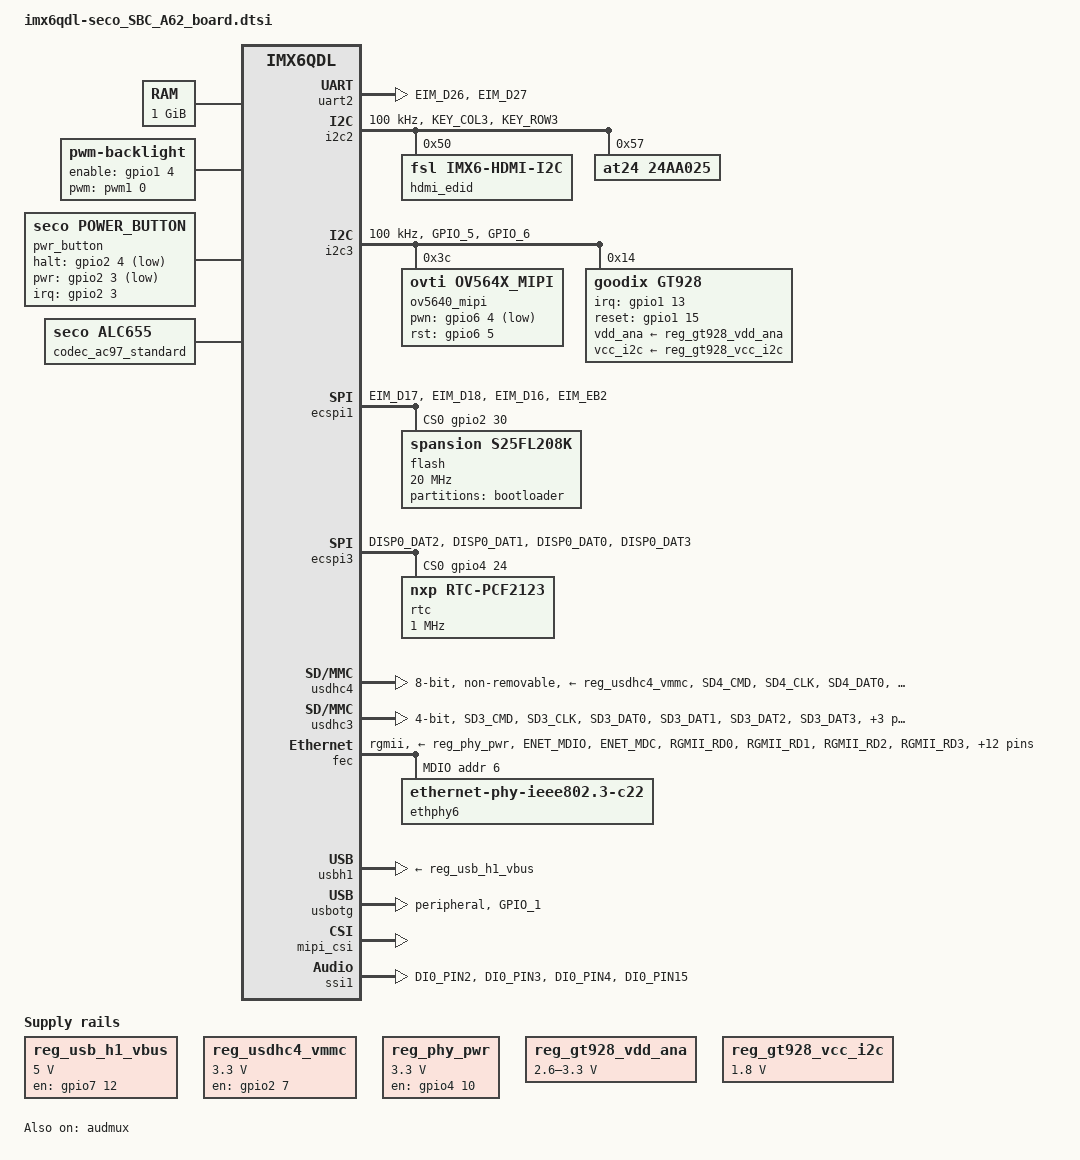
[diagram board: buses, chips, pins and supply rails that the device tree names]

#include <dt-bindings/gpio/gpio.h>
#include <dt-bindings/input/input.h>
#include <dt-bindings/pwm/pwm.h>


/ {
	aliases {
		mxcfb0 = &mxcfb1;
		mxcfb1 = &mxcfb2;
		mxcfb2 = &mxcfb3;
		mxcfb3 = &mxcfb4;
		mmc0   = &usdhc4;
		mmc1   = &usdhc3;
	};

	memory: memory {
		reg = <0x10000000 0x40000000>;
	};



/*  __________________________________________________________________________
 * |                                                                          |
 * |                                 REGULATORS                               |
 * |__________________________________________________________________________|
 */
	regulators {
		compatible       = "simple-bus";
		#address-cells   = <1>;
		#size-cells      = <0>;

		reg_usb_h1_vbus: regulator@0 {
			compatible              = "regulator-fixed";
			reg                     = <0>;
			regulator-name          = "usb_h1_vbus";
			//pinctrl-0               = <&pinctrl_usb_reg>;
			regulator-min-microvolt = <5000000>;
			regulator-max-microvolt = <5000000>;
			gpio                    = <&gpio7 12 GPIO_ACTIVE_HIGH>;
			enable-active-high;
			//startup-delay-us        = <10>; /* USB2514 requires a POR of 1 us minimum */
			status                  = "okay";
		};


		reg_usdhc4_vmmc: usdhc4_vmmc {
			compatible = "regulator-fixed";
			regulator-name = "VEMMC_3V3";
			regulator-min-microvolt = <3300000>;
			regulator-max-microvolt = <3300000>;
			gpio = <&gpio2 7 GPIO_ACTIVE_HIGH>;
			enable-active-high;
		};


		reg_panel_on: panel_on {
			compatible              = "regulator-fixed";
			reg                     = <1>;
			regulator-name          = "reg_panel_on";
			regulator-min-microvolt = <3300000>;
			regulator-max-microvolt = <3300000>;
			gpio                    = <&gpio1 2 0>;
			enable-active-high;
			regulator-boot-on;
			regulator-always-on;
			status                  = "disabled";
		};


		reg_phy_pwr: phy_pwr {
			compatible              = "regulator-fixed";
			regulator-name          = "phy_pwr";
			regulator-min-microvolt = <3300000>;
			regulator-max-microvolt = <3300000>;
			gpio                    = <&gpio4 10 GPIO_ACTIVE_HIGH>;
			enable-active-high;
		};


		reg_gt928_vdd_ana: gt928_vdd_ana {
			compatible              = "regulator-fixed";
			reg                     = <2>;
			regulator-name          = "gt928_vdd_ana";
			regulator-min-microvolt = <2600000>;
			regulator-max-microvolt = <3300000>;
			regulator-always-on;
			status                  = "okay";
		};


		reg_gt928_vcc_i2c: gt928_vcc_i2c {
			compatible              = "regulator-fixed";
			reg                     = <3>;
			regulator-name          = "gt928_vcc_i2c";
			regulator-min-microvolt = <1800000>;
			regulator-max-microvolt = <1800000>;
			regulator-always-on;
			status                  = "okay";
		};

	};


/*  __________________________________________________________________________
 * |                                                                          |
 * |                                   VIDEO                                  |
 * |__________________________________________________________________________|
 */

	mxcfb1: fb@0 {
		compatible = "fsl,mxc_sdc_fb";
		disp_dev = "ldb";
		interface_pix_fmt = "RGB666";
		default_bpp = <16>;
		int_clk = <0>;
		late_init = <0>;
		status = "disabled";
	};

	mxcfb2: fb@1 {
		compatible = "fsl,mxc_sdc_fb";
		disp_dev = "hdmi";
		interface_pix_fmt = "RGB24";
		mode_str ="1920x1080M@60";
		default_bpp = <24>;
		int_clk = <0>;
		late_init = <0>;
		status = "disabled";
	};

	mxcfb3: fb@2 {
		compatible = "fsl,mxc_sdc_fb";
		disp_dev = "lcd";
		interface_pix_fmt = "RGB565";
		mode_str ="CLAA-WVGA";
		default_bpp = <16>;
		int_clk = <0>;
		late_init = <0>;
		status = "disabled";
	};

	mxcfb4: fb@3 {
		compatible = "fsl,mxc_sdc_fb";
		disp_dev = "ldb";
		interface_pix_fmt = "RGB666";
		default_bpp = <16>;
		int_clk = <0>;
		late_init = <0>;
		status = "disabled";
	};

	backlight {
		compatible               = "pwm-backlight";
		pwms                     = <&pwm1 0 5000000>;
		brightness-levels        = <0  4   8   12  16  20  24  28  32  36
		                            40  44  48  52  56  60  64  68  72  76
		                            80  84  88  92  96  100 104 108 112 116
		                            120 124 128 132 136 140 144 148 152 156
		                            160 164 168 172 176 180 184 188 192 196
		                            200 204 208 212 216 220 224 228 232 236
		                            240 244 248 252 255
		                           >;
		default-brightness-level = <65>;
		enable-gpios             = <&gpio1 4 0>;
		status                   = "okay";
	};	
};

/*  __________________________________________________________________________
 * |                                                                          |
 * |                                  CLOCKS                                  |
 * |__________________________________________________________________________|
 */
/ {
	clk_consumer0: clk_consumer0 {
		compatible = "seco,clk_consumer";
		clocks = <&clks IMX6QDL_CLK_CKO>;
		status = "okay";
	};


	external_clocks {
		clocks       =  <&clks IMX6QDL_CLK_CKO>;
		#clock-cells = <0>;
	};

	// external_clocks1 {
	// 	clocks       =  <&clks IMX6QDL_CLK_CKO2>;
	// 	#clock-cells = <0>;
	// };
};

&clks {
	assigned-clocks      =  	<&clks IMX6QDL_CLK_CKO2>,
						<&clks IMX6QDL_CLK_PLL4_POST_DIV>;
	assigned-clock-rates = <24000000>, <24576000>;
};



/*  __________________________________________________________________________
 * |                                                                          |
 * |                             POWER MANAGEMENT                             |
 * |__________________________________________________________________________|
 */
/ {
	power_signal: power_signal {
		power-gpio = <&gpio2 4 0>;
		set_high;
		only_for_poweroff;
	};

	pwr_button: pwr_button {
		compatible       = "seco,power_button";
		interrupt-parent = <&gpio2>;
		interrupts       = <3 IRQ_TYPE_LEVEL_LOW>;
		halt-gpio        = <&gpio2 4 GPIO_ACTIVE_LOW>;
		pwr-gpio         = <&gpio2 3 GPIO_ACTIVE_LOW>;

	};
};



/*  __________________________________________________________________________
 * |                                                                          |
 * |                                    CAN                                   |
 * |__________________________________________________________________________|
 */
&can1 {
	pinctrl-names = "default";
	pinctrl-0     = <&pinctrl_j8_port3_1>;
	status        = "disabled";
};


/*  PORT 10  */
&can2 {
	pinctrl-names = "default";
	pinctrl-0     = <&pinctrl_j8_port9_3>;
	status        = "disabled";
};
/*  __________________________________________________________________________
 * |__________________________________________________________________________|
 */


/*  __________________________________________________________________________
 * |                                                                          |
 * |                                    UART                                  |
 * |__________________________________________________________________________|
 */
 /*  PORT 8  */
&uart1 {
	pinctrl-names  = "default";
	pinctrl-0      = <&pinctrl_j8_port8_1>;
	rs485-cts-gpio = <&gpio3 20 0>;
	fsl,rs485-mode;
	status         = "disabled";
};


/*  Serial Debug  */
&uart2 {
	pinctrl-names = "default";
	pinctrl-0     = <&pinctrl_uart2>;
	status        = "okay";
};


/*  PORT 4  */
&uart4 {
	pinctrl-names = "default";
	pinctrl-0     = <&pinctrl_j8_port4_1>;
	fsl,uart-has-rtscts;
	status        = "disabled";
};


/*  PORT 9/10  */
&uart5 {
	pinctrl-names = "default";
	pinctrl-0     = <&pinctrl_j8_port9_2>;
	status        = "disabled";
};
/*  __________________________________________________________________________
 * |__________________________________________________________________________|
 */


/*  __________________________________________________________________________
 * |                            I2C INTERFACE/DEVICE                          |
 * |__________________________________________________________________________|
 */
 /*  PORT 5  */
 &i2c1 {
	clock-frequency = <100000>;
	pinctrl-names   = "default";
	pinctrl-0       = <&pinctrl_j8_port5_2>;
	status          = "disabled";
};


&i2c2 {
	clock-frequency = <100000>;
	pinctrl-names   = "default";
	pinctrl-0       = <&pinctrl_i2c2>;
	status          = "okay";

	hdmi_edid: edid@50 {
		compatible  = "fsl,imx6-hdmi-i2c";
		reg         = <0x50>;
	};

	at24@57 {
		compatible = "at24,24aa025";
		pagesize   = <256>;
		reg        = <0x57>;
	};
};


&i2c3 {
	clock-frequency = <100000>;
	pinctrl-names   = "default";
	pinctrl-0       = <&pinctrl_i2c3>;
	status          = "okay";

	ov5640_mipi: ov5640_mipi@3c {
		compatible  = "ovti,ov564x_mipi";
		reg         = <0x3c>;

		clocks      = <&clks IMX6QDL_CLK_CKO>;
		clock-names = "csi_mclk";

		pwn-gpios   = <&gpio6 4 1>;   /* active low */
		rst-gpios   = <&gpio6 5 0>;   /* active high */

		csi_id      = <0>;
		mclk        = <24000000>;
		mclk_source = <0>;
	};


	st1232_ts: st1232-ts@55 {
		compatible       = "sitronix,st1232";
		reg              = <0x55>;

		pinctrl-names    = "default";
		pinctrl-0        = <&pinctrl_st1232>;
		interrupt-parent = <&gpio1>;
		interrupts       = <13 IRQ_TYPE_LEVEL_LOW>;
		gpios            = <&gpio1 15 GPIO_ACTIVE_LOW>;
		status           = "disabled";
	};


	gt928: gt928@14 {
		compatible             = "goodix,gt928";
		reg                    = <0x14>;
		pinctrl-names          = "default";
		pinctrl-0              = <&pinctrl_st1232>;

		vdd_ana-supply         = <&reg_gt928_vdd_ana>;
 		vcc_i2c-supply         = <&reg_gt928_vcc_i2c>;
	
		interrupt-parent       = <&gpio1>;
		interrupts             = <13 IRQ_TYPE_LEVEL_LOW>;
		irq-gpios              = <&gpio1 13 IRQ_TYPE_LEVEL_LOW>;
		irq-flags              = <2>;

		reset-gpios            = <&gpio1 15 GPIO_ACTIVE_HIGH>;
	
		ts-max-width           = <1280>;
		ts-max-height          = <800>;

		touchscreen-max-id     = <11>;
 		touchscreen-size-x     = <1280>;
 		touchscreen-size-y     = <800>;
 		touchscreen-max-w      = <1024>;
 		touchscreen-max-p      = <1024>;
		
		goodix,ts-reverse-x    = <0>;
		goodix,ts-reverse-y    = <0>;
		goodix,ts-reverse-xy   = <0>;
		goodix,swap-x2y        = <0>;
		ts-max-finger          = <1>;
		goodix,sensor-id       = <0>;

 		goodix,type-a-report   = <0>;
 		goodix,driver-send-cfg = <1>;

 		goodix,int-sync        = <1>;
 		goodix,esd-protect     = <0>;

 		goodix,auto-update     = <0>;
 		goodix,auto-update-cfg = <1>;
		
		goodix,cfg-group0      = [
00 00 05 20 03 0A 0D 00 01 08 28 0F 50 32 03 05 00 00 FF 7F 00 00 06
18 1A 1E 14 90 30 AA 3C 3E B5 06 00 00 00 BB 33 1D 00 00 00 00 00 03
00 00 00 00 2B 28 50 94 D5 02 00 00 00 04 A9 2A 00 95 31 00 86 38 00
78 41 00 6E 4A 00 6E 00 00 00 00 00 00 00 00 00 00 00 00 00 00 00 00
00 00 00 00 00 00 00 19 41 28 08 00 00 00 00 00 00 00 00 00 19 18 17
16 15 14 11 10 0F 0E 0D 0C 09 08 07 06 05 04 01 00 FF FF FF FF 00 00
00 00 00 00 00 02 04 06 07 08 0A 0C 0D 0E 0F 10 11 12 13 14 19 1B 1C
1E 1F 20 21 22 23 24 25 26 27 28 29 2A 00 00 00 00 00 00 00 00 00 00
B5 01 
		];

		status                 = "okay";
	};
};
/*  __________________________________________________________________________
 * |__________________________________________________________________________|
 */


/*  __________________________________________________________________________
 * |                                                                          |
 * |                            SPI INTERFACE/DEVICE                          |
 * |__________________________________________________________________________|
 */
&ecspi1 {
	fsl,spi-num-chipselects = <1>;
	cs-gpios                = <&gpio2 30 0>;
	pinctrl-names           = "default";
	pinctrl-0               = <&pinctrl_ecspi1>;
	status                  = "okay";

	flash: m25p80@0 {
		#address-cells      = <1>;
		#size-cells         = <0>;

		compatible          = "spansion,s25fl208k","jedec,spi-nor";
		spi-max-frequency   = <20000000>;
		reg                 = <0>;

		partitions {
			compatible = "fixed-partitions";
			#address-cells = <1>;
			#size-cells = <1>;

			partition@0 {
				label = "bootloader";
				reg   = <0x00000000 0x00100000>;
			};
		};
	};

};


/*  PORT 2  */
&ecspi2 {
	fsl,spi-num-chipselects = <1>;
	cs-gpios                = <&gpio3 24  0>;
	pinctrl-names           = "default";
	pinctrl-0               = <&pinctrl_j8_port2_1>;
	status                  = "disabled";

	spidev@0x00{
		compatible = "spidev";
		spi-max-frequency = <1000000>;
		reg = <0>;
	};
};



&ecspi3 {
	fsl,spi-num-chipselects = <1>;
	cs-gpios                = <&gpio4 24 0>;
	pinctrl-names           = "default";
	pinctrl-0               = <&pinctrl_ecspi3>;
	status                  = "okay";

	rtc: pcf2123@0 {
		compatible          = "nxp,rtc-pcf2123";
		reg                 = <0>;
		spi-max-frequency   = <1000000>;
		spi-cs-high;
	};
};
/*  __________________________________________________________________________
 * |__________________________________________________________________________|
 */


/*  __________________________________________________________________________
 * |                                                                          |
 * |                                   USDHC                                  |
 * |__________________________________________________________________________|
 */
 /*  PORT 6  */
 &usdhc1 {
	pinctrl-names          = "default";
	pinctrl-0              = <&pinctrl_j8_port6_1>;
	bus-width              = <4>;
	no-1-8-v;
	keep-power-in-suspend;
	enable-sdio-wakeup;
	status = "disabled";
};


/*  eMMC  */
&usdhc4 {
	pinctrl-names          = "default";
	pinctrl-0              = <&pinctrl_usdhc4>;
	bus-width              = <8>;
	vmmc-supply            = <&reg_usdhc4_vmmc>;
	no-1-8-v;
	non-removable;
	keep-power-in-suspend;
	status                 = "okay";
};


/*  uSD  */
&usdhc3 {
	pinctrl-names          = "default";
	pinctrl-0              = <&pinctrl_usdhc3>;
	cd-gpios               = <&gpio7 0 GPIO_ACTIVE_LOW>;
	bus-width              = <4>;
	keep-power-in-suspend;
	enable-sdio-wakeup;
	no-1-8-v;
	status                 = "okay";
};
/*  __________________________________________________________________________
 * |__________________________________________________________________________|
 */


/*  __________________________________________________________________________
 * |                                                                          |
 * |                                  ETHERNET                                |
 * |__________________________________________________________________________|
 */
&fec {
	pinctrl-names        = "default";
	pinctrl-0            = <&pinctrl_enet>;
	phy-mode             = "rgmii";
	phy-supply           = <&reg_phy_pwr>;
	phy-reset-gpios      = <&gpio3 23 GPIO_ACTIVE_LOW>;
	phy-reset-duration   = <10>;
	phy-reset-post-delay = <100>;
	fsl,magic-packet;
	status               = "okay";

	mdio: mdio {
		#address-cells = <1>;
		#size-cells = <0>;

		ethphy6: ethernet-phy@6 {
			compatible = "ethernet-phy-ieee802.3-c22";
			reg = <6>;
			// interrupt-parent = <&gpio4>;
			// interrupts = <16 IRQ_TYPE_LEVEL_LOW>;
			status = "okay";
		};
	};

};
/*  __________________________________________________________________________
 * |__________________________________________________________________________|
 */


/*  __________________________________________________________________________
 * |                                                                          |
 * |                                     PWM                                  |
 * |__________________________________________________________________________|
 */
&pwm1 {
	pinctrl-names = "default";
	pinctrl-0     = <&pinctrl_pwm1>;
	status        = "disabled";
};


/*  PORT 6  */
&pwm2 {
	pinctrl-names = "default";
	pinctrl-0     = <&pinctrl_j8_port6_4>;
	status        = "disabled";
};


/*  PORT 6  */
&pwm4 {
	pinctrl-names = "default";
	pinctrl-0     = <&pinctrl_j8_port6_2>;
	status        = "disabled";
};


/*  PORT 6  */
&pwm3 {
	pinctrl-names = "default";
	pinctrl-0     = <&pinctrl_j8_port6_3>;
	status        = "disabled";
};
/*  __________________________________________________________________________
 * |__________________________________________________________________________|
 */



/*  __________________________________________________________________________
 * |                                                                          |
 * |                                     USB                                  |
 * |__________________________________________________________________________|
 */
&usbh1 {
	vbus-supply   = <&reg_usb_h1_vbus>;
	pinctrl-names = "default";
	pinctrl-0     = <&pinctrl_usb_h1>;
	status        = "okay";
};


&usbotg {
	pinctrl-names         = "default";
	pinctrl-0             = <&pinctrl_usbotg>;
	dr_mode		          = "peripheral";
	disable-over-current;
	srp-disable;
	hnp-disable;
	adp-disable;
	status                = "okay";
};


&usbphy1 {
	fsl,tx-d-cal = <106>;
};

&usbphy2 {
	fsl,tx-d-cal = <106>;
};
/*  __________________________________________________________________________
 * |__________________________________________________________________________|
 */


/*  __________________________________________________________________________
 * |                                                                          |
 * |                                  CAMERA CSI                              |
 * |__________________________________________________________________________|
 */
/ {
	v4l2_cap_0 {
		compatible  = "fsl,imx6q-v4l2-capture";
		ipu_id      = <0>;
		csi_id      = <0>;
		mclk_source = <0>;
		status      = "okay";
	};


	v4l2_out {
		compatible = "fsl,mxc_v4l2_output";
		status     = "okay";
	};
};


&mipi_csi {
	ipu_id    = <0>;
	csi_id    = <0>;
	v_channel = <0>;
	lanes     = <2>;
	status    = "okay";
};
/*  __________________________________________________________________________
 * |__________________________________________________________________________|
 */


/*  __________________________________________________________________________
 * |                                                                          |
 * |                                 VIDEO OUTPUT                             |
 * |__________________________________________________________________________|
 */
&hdmi_audio {
	status = "disabled";
};


&hdmi_core {
	ipu_id  = <0>;
	disp_id = <0>;
	status  = "disabled";
};


&hdmi_video {
	fsl,phy_reg_vlev    = <0x0294>;
	fsl,phy_reg_cksymtx = <0x800d>;
	status              = "disabled";
};


/*  __________________________________________________________________________
 * |__________________________________________________________________________|
 */

/*  __________________________________________________________________________
 * |                                                                          |
 * |                                 AUDIO ALC655                             |
 * |__________________________________________________________________________|
 */
/ {

	codec_ac97_standard: codec_ac97_standard {
		compatible = "seco,alc655";
		model	   = "alc655-codec";
		status     = "okay";
	};

	sound_ac97_standard: sound_ac97_standard {
		compatible     = "fsl,imx-alc655-audio";
		model          = "imx-ac97-ac97_standard";
		cpu-dai        = <&ssi1>;
		audio-codec    = <&codec_ac97_standard>;
		ssi-controller = <&ssi1>;
		asrc-controller = <&asrc>;
		mux-int-port   = <1>;
		mux-ext-port   = <6>;
		codec-master;
		status         = "okay";
	};

};


&ssi1 {
	fsl,mode      = "ac97-slave";
	pinctrl-names = "default", "ac97-running", "ac97-reset", "ac97-warm-reset";
	pinctrl-0     = <&ac97link_running>;
	pinctrl-1     = <&ac97link_running>;
	pinctrl-2     = <&ac97link_reset>;
	pinctrl-3     = <&ac97link_warm_reset>;
	/* sync, sdata (output), reset */
	ac97-gpios    = <&gpio4 19 0 &gpio4 18 0 &gpio2 31 0>;
	cell-index    = <0>;
	status        = "okay";
};


&audmux {
	status = "okay";
};


/*  PORT 5  */
&spdif {
	pinctrl-names   = "default";
	pinctrl-0       = <&pinctrl_j8_port5_1>;
	status          = "disabled";
};
/*  __________________________________________________________________________
 * |__________________________________________________________________________|
 */


/*  __________________________________________________________________________
 * |                                                                          |
 * |                                    IOMUX                                 |
 * |__________________________________________________________________________|
 */
&iomuxc {
	pinctrl-names = "default";
	pinctrl-0 = <&pinctrl_hog &pinctrl_j8_port1_gpio &pinctrl_j8_port2_gpio 
					&pinctrl_j8_port3_gpio &pinctrl_j8_port5_gpio3 &pinctrl_j8_port6_gpio6
					&pinctrl_j8_port7_gpio &pinctrl_j8_port8_gpio &pinctrl_j8_port9_gpio>;

	imx6qdl-SBC_A62 {

		pinctrl_hog: hoggrp {
			fsl,pins = <
				/*  Enable  */
				MX6QDL_PAD_CSI0_DAT18__GPIO6_IO04            0x1f071
				/*  Reset  */
				MX6QDL_PAD_CSI0_DAT19__GPIO6_IO05            0x1f071
				/*  PWR CONTROLLER  */
				MX6QDL_PAD_NANDF_D4__GPIO2_IO04              0x1f071
				MX6QDL_PAD_NANDF_D3__GPIO2_IO03              0x1f071

				MX6QDL_PAD_CSI0_MCLK__CCM_CLKO1              0x130b0

				/*  LVDS  */
				MX6QDL_PAD_GPIO_4__GPIO1_IO04                0x1f071
				MX6QDL_PAD_GPIO_2__GPIO1_IO02                0x1f071


				MX6QDL_PAD_SD2_CMD__GPIO1_IO11               0x1f071	// FAN_GPIO
				MX6QDL_PAD_GPIO_18__GPIO7_IO13               0x1f071    // FAN_EN

				MX6QDL_PAD_NANDF_CS2__CCM_CLKO2              0x80000000
				MX6QDL_PAD_GPIO_17__GPIO7_IO12               0x80000000
			>;
		};


/*  __________________________________________________________________________
 * |________________________________ UART ____________________________________|
 */
		/* DEBUG UART */
		pinctrl_uart2: uart2grp {
			fsl,pins = <
			MX6QDL_PAD_EIM_D26__UART2_TX_DATA                0x1b0b1
			MX6QDL_PAD_EIM_D27__UART2_RX_DATA                0x1b0b1
			>;
		};


/*  __________________________________________________________________________
 * |_________________________________ I2C ____________________________________|
 */
 		pinctrl_i2c2: i2c2grp {
			fsl,pins = <
				MX6QDL_PAD_KEY_COL3__I2C2_SCL                0x4001b8b1
				MX6QDL_PAD_KEY_ROW3__I2C2_SDA                0x4001b8b1
			>;
		};

		pinctrl_i2c3: i2c3grp {
			fsl,pins = <
				MX6QDL_PAD_GPIO_5__I2C3_SCL                  0x4001b8b1
				MX6QDL_PAD_GPIO_6__I2C3_SDA                  0x4001b8b1                                       
			>;
		};


/*  __________________________________________________________________________
 * |_________________________________ SPI ____________________________________|
 */
		pinctrl_ecspi1: ecspi1grp {
			fsl,pins = <
				MX6QDL_PAD_EIM_D17__ECSPI1_MISO              0x100b1
				MX6QDL_PAD_EIM_D18__ECSPI1_MOSI              0x100b1
				MX6QDL_PAD_EIM_D16__ECSPI1_SCLK              0x100b1
				/*  CS SPI 1  */
				MX6QDL_PAD_EIM_EB2__GPIO2_IO30               0x80000000

			>;
		};

		pinctrl_ecspi3: ecspi3grp {
			fsl,pins = <
				MX6QDL_PAD_DISP0_DAT2__ECSPI3_MISO           0x100b1
				MX6QDL_PAD_DISP0_DAT1__ECSPI3_MOSI           0x100b1
				MX6QDL_PAD_DISP0_DAT0__ECSPI3_SCLK           0x100b1
				/*  CS SPI 2  */
				MX6QDL_PAD_DISP0_DAT3__GPIO4_IO24            0x80000000
			>;
		};


/*  __________________________________________________________________________
 * |________________________________ USDHC ___________________________________|
 */
		pinctrl_usdhc3: usdhc3grp {
			fsl,pins = <
				MX6QDL_PAD_SD3_CMD__SD3_CMD                  0x17059
				MX6QDL_PAD_SD3_CLK__SD3_CLK                  0x10059
				MX6QDL_PAD_SD3_DAT0__SD3_DATA0               0x17059
				MX6QDL_PAD_SD3_DAT1__SD3_DATA1               0x17059
				MX6QDL_PAD_SD3_DAT2__SD3_DATA2               0x17059
				MX6QDL_PAD_SD3_DAT3__SD3_DATA3               0x17059
				MX6QDL_PAD_NANDF_D5__GPIO2_IO05              0x17059
				MX6QDL_PAD_SD3_DAT5__GPIO7_IO00              0X17059
			>;
		};

		pinctrl_usdhc4: usdhc4grp {
			fsl,pins = <
				MX6QDL_PAD_SD4_CMD__SD4_CMD                  0x17059
				MX6QDL_PAD_SD4_CLK__SD4_CLK                  0x10059
				MX6QDL_PAD_SD4_DAT0__SD4_DATA0               0x17059
				MX6QDL_PAD_SD4_DAT1__SD4_DATA1               0x17059
				MX6QDL_PAD_SD4_DAT2__SD4_DATA2               0x17059
				MX6QDL_PAD_SD4_DAT3__SD4_DATA3               0x17059
				MX6QDL_PAD_SD4_DAT4__SD4_DATA4               0x17059
				MX6QDL_PAD_SD4_DAT5__SD4_DATA5               0x17059
				MX6QDL_PAD_SD4_DAT6__SD4_DATA6               0x17059
				MX6QDL_PAD_SD4_DAT7__SD4_DATA7               0x17059
				MX6QDL_PAD_NANDF_D7__GPIO2_IO07              0x1f071
			>;
		};


/*  __________________________________________________________________________
 * |__________________________________ CAN ___________________________________|
 */
		

/*  __________________________________________________________________________
 * |______________________________ ETHERNET __________________________________|
 */
		pinctrl_enet: enetgrp {
			fsl,pins = <
				MX6QDL_PAD_ENET_MDIO__ENET_MDIO              0x1b0b0
				MX6QDL_PAD_ENET_MDC__ENET_MDC                0x1b0b0
				MX6QDL_PAD_RGMII_RD0__RGMII_RD0              0x1b0b0
				MX6QDL_PAD_RGMII_RD1__RGMII_RD1              0x1b0b0
				MX6QDL_PAD_RGMII_RD2__RGMII_RD2              0x1b0b0
				MX6QDL_PAD_RGMII_RD3__RGMII_RD3              0x1b0b0
				MX6QDL_PAD_RGMII_RX_CTL__RGMII_RX_CTL        0x1b0b0
				MX6QDL_PAD_RGMII_TD0__RGMII_TD0              0x1b0b0
				MX6QDL_PAD_RGMII_TD1__RGMII_TD1              0x1b0b0
				MX6QDL_PAD_RGMII_TD2__RGMII_TD2              0x1b0b0
				MX6QDL_PAD_RGMII_TD3__RGMII_TD3              0x1b0b0
				MX6QDL_PAD_RGMII_TX_CTL__RGMII_TX_CTL        0x1b0b0
				MX6QDL_PAD_RGMII_RXC__RGMII_RXC              0x1b0b0
				MX6QDL_PAD_RGMII_TXC__RGMII_TXC	             0x1b0b0
				MX6QDL_PAD_ENET_REF_CLK__ENET_TX_CLK         0x1b0b0

				/*  Phy Interrupt  */
				MX6QDL_PAD_ENET_TX_EN__GPIO1_IO28            0x1f071
				/*  ENET RESET */
				MX6QDL_PAD_EIM_D23__GPIO3_IO23               0x1f071
			>;
		};


/*  __________________________________________________________________________
 * |__________________________________ PWM ___________________________________|
 */
		pinctrl_pwm1: pwm1grp {
			fsl,pins = <
				MX6QDL_PAD_DISP0_DAT8__PWM1_OUT              0x1b0b1
			>;
		};


/*  __________________________________________________________________________
 * |__________________________________ USB ___________________________________|
 */
		pinctrl_usb_h1: usbh1grp {
			fsl,pins = <
			//	MX6QDL_PAD_NANDF_CS2__CCM_CLKO2              0x130b0
			>;
		};

		pinctrl_usbotg: usbotggrp {
			fsl,pins = <
				MX6QDL_PAD_GPIO_1__USB_OTG_ID                0x17059
			>;
		};

// 		pinctrl_usb_reg: usbreggrp {
// 			fsl,pins = <
// 				MX6QDL_PAD_GPIO_17__GPIO7_IO12               0x80000000
// 			>;
// 		};
 /*  __________________________________________________________________________
 * |________________________________ TOUCH ___________________________________|
 */
		pinctrl_st1232: st1232grp {
			fsl,pins = <
				MX6QDL_PAD_SD2_DAT2__GPIO1_IO13              0x80000000		// Touch Interrupt
				MX6QDL_PAD_SD2_DAT0__GPIO1_IO15              0x80000000		// Touch Reset
			>;
		};

		pinctrl_gt9xx_int: touch_gt9xx_int_grp {
			fsl,pins = <
				MX6QDL_PAD_SD2_DAT2__GPIO1_IO13              0x80000000		// Touch Interrupt
			>;
		};

		pinctrl_gt9xx: touch_gt9xx_grp {
			fsl,pins = <
				MX6QDL_PAD_SD2_DAT0__GPIO1_IO15              0x80000000		// Touch Reset
			>;
		};

/*  __________________________________________________________________________
 * |_____________________________ AUDIO AC97 _________________________________|
 */
		ac97link_running: ac97link_runninggrp {
			fsl,pins = <
				MX6QDL_PAD_DI0_PIN2__AUD6_TXD                0x130b0
				MX6QDL_PAD_DI0_PIN3__AUD6_TXFS               0x130b0
				MX6QDL_PAD_DI0_PIN4__AUD6_RXD                0x130b0
				MX6QDL_PAD_DI0_PIN15__AUD6_TXC               0x130b0
			 >;
		};

		ac97link_reset: ac97link_resetgrp {
			fsl,pins = <
				/*  AUD_SYNC  */
				MX6QDL_PAD_DI0_PIN3__GPIO4_IO19              0x1f071
				/*  AUD_SDO  */
				MX6QDL_PAD_DI0_PIN2__GPIO4_IO18              0x1f071
				/*  RESET  */
				MX6QDL_PAD_EIM_EB3__GPIO2_IO31               0x1f071
			>;
		};

		ac97link_warm_reset: ac97link_warm_resetgrp {
			fsl,pins = <
				MX6QDL_PAD_DI0_PIN3__GPIO4_IO19              0x80000000
			>;
		};

		pinctrl_audmux: audmuxgrp {
			fsl,pins = <
				MX6QDL_PAD_DI0_PIN2__AUD6_TXD                0x130b0
				MX6QDL_PAD_DI0_PIN3__AUD6_TXFS               0x130b0
				MX6QDL_PAD_DI0_PIN4__AUD6_RXD                0x130b0
				MX6QDL_PAD_DI0_PIN15__AUD6_TXC               0x130b0
				MX6QDL_PAD_EIM_EB3__GPIO2_IO31               0x1f071
			>;
		};


/*  ____________________________________________________________________________
 * |__________________________________ PORT1 ___________________________________|
*/
		pinctrl_j8_port1_gpio: j8_port1grp1 {
			fsl,pins = <
				MX6QDL_PAD_GPIO_9__GPIO1_IO09                0x1f071
			>;
		};

/*  ____________________________________________________________________________
 * |__________________________________ PORT2 ___________________________________|
*/

		pinctrl_j8_port2_gpio: j8_port2grp1 {
			fsl,pins = <
				MX6QDL_PAD_EIM_CS0__GPIO2_IO23               0x1f071
				MX6QDL_PAD_EIM_CS1__GPIO2_IO24               0x1f071
				MX6QDL_PAD_EIM_OE__GPIO2_IO25                0x1f071
				MX6QDL_PAD_EIM_D24__GPIO3_IO24               0x1f071
			>;
		};

		pinctrl_j8_port2_1: j8_port2grp2 {	/* SPI2 */
			fsl,pins = <
				MX6QDL_PAD_EIM_CS0__ECSPI2_SCLK              0x100b1
				MX6QDL_PAD_EIM_CS1__ECSPI2_MOSI              0x100b1
				MX6QDL_PAD_EIM_OE__ECSPI2_MISO               0x100b1
				/*  CS SPI 2  */
				MX6QDL_PAD_EIM_D24__GPIO3_IO24               0x80000000
			>;
		};


/*  ____________________________________________________________________________
 * |__________________________________ PORT3 ___________________________________|
*/
		pinctrl_j8_port3_gpio: j8_port3grp1 {
			fsl,pins = <
				MX6QDL_PAD_GPIO_7__GPIO1_IO07                0x1f071
				MX6QDL_PAD_GPIO_8__GPIO1_IO08                0x1f071
			>;
		};

		pinctrl_j8_port3_1: j9_port3grp2 {
			fsl,pins = <
				MX6QDL_PAD_GPIO_8__FLEXCAN1_RX               0x80000000
				MX6QDL_PAD_GPIO_7__FLEXCAN1_TX               0x80000000
				>;
			};

/*  ____________________________________________________________________________
 * |__________________________________ PORT4 ___________________________________|
*/
		pinctrl_j8_port4_1: j8_port4grp1 {  /* UART4 FULL */
			fsl,pins = <
				MX6QDL_PAD_CSI0_DAT17__UART4_CTS_B           0x1b0b1
				MX6QDL_PAD_CSI0_DAT16__UART4_RTS_B           0x1b0b1
				MX6QDL_PAD_CSI0_DAT12__UART4_TX_DATA         0x1b0b1
				MX6QDL_PAD_CSI0_DAT13__UART4_RX_DATA         0x1b0b1
			>;
		};

		pinctrl_j8_port4_2: j8_port4grp2 {	/* UART4 TX/RX */
			fsl,pins = <
				MX6QDL_PAD_CSI0_DAT12__UART4_TX_DATA         0x1b0b1
				MX6QDL_PAD_CSI0_DAT13__UART4_RX_DATA         0x1b0b1
			>;
		};


/*  ____________________________________________________________________________
 * |__________________________________ PORT5 ___________________________________|
*/
		pinctrl_j8_port5_gpio3: j8_port5grp1 {
			fsl,pins = <
				MX6QDL_PAD_EIM_D28__GPIO3_IO28               0x1f071
				MX6QDL_PAD_EIM_D21__GPIO3_IO21               0x1f071
				MX6QDL_PAD_GPIO_19__GPIO4_IO05               0x1f071
			>;
		};

		pinctrl_j8_port5_gpio1A: j8_port5grp2 {
			fsl,pins = <
				MX6QDL_PAD_EIM_D28__GPIO3_IO28               0x1f071
			>;
		};

		pinctrl_j8_port5_gpio1B: j8_port5grp3 {
			fsl,pins = <
				MX6QDL_PAD_GPIO_19__GPIO4_IO05               0x1f071
			>;
		};

		pinctrl_j8_port5_1: j8_port5grp4 {	/* SPDIF */
			fsl,pins = <
				MX6QDL_PAD_EIM_D21__SPDIF_IN                 0x1b0b0
				MX6QDL_PAD_GPIO_19__SPDIF_OUT                0x1b0b0
			>;
		};

		pinctrl_j8_port5_2: j8_port5grp5 {	/* I2C1 */
			fsl,pins = <
				MX6QDL_PAD_EIM_D28__I2C1_SDA                 0x4001b8b1
				MX6QDL_PAD_EIM_D21__I2C1_SCL                 0x4001b8b1
			>;
		};


/*  ____________________________________________________________________________
 * |__________________________________ PORT6 ___________________________________|
*/
		pinctrl_j8_port6_gpio6: j8_port6grp1 {
			fsl,pins = <
				MX6QDL_PAD_SD1_CLK__GPIO1_IO20               0x1b0b1
				MX6QDL_PAD_SD1_DAT0__GPIO1_IO16              0x1b0b1
				MX6QDL_PAD_SD1_DAT3__GPIO1_IO21              0x1b0b1
				MX6QDL_PAD_SD1_CMD__GPIO1_IO18               0x1f071
				MX6QDL_PAD_SD1_DAT1__GPIO1_IO17              0x1f071
				MX6QDL_PAD_SD1_DAT2__GPIO1_IO19              0x1f071
			>;
		};

		pinctrl_j8_port6_gpio5A: j8_port6grp2 {
			fsl,pins = <
				MX6QDL_PAD_SD1_CLK__GPIO1_IO20               0x1b0b1
				MX6QDL_PAD_SD1_DAT0__GPIO1_IO16              0x1b0b1
				MX6QDL_PAD_SD1_DAT3__GPIO1_IO21              0x1b0b1
				MX6QDL_PAD_SD1_CMD__GPIO1_IO18               0x1f071
				MX6QDL_PAD_SD1_DAT1__GPIO1_IO17              0x1f0
			>;
		};

		pinctrl_j8_port6_gpio5B: j8_port6grp3 {
			fsl,pins = <
				MX6QDL_PAD_SD1_CLK__GPIO1_IO20               0x1b0b1
				MX6QDL_PAD_SD1_DAT0__GPIO1_IO16              0x1b0b1
				MX6QDL_PAD_SD1_DAT3__GPIO1_IO21              0x1b0b1
				MX6QDL_PAD_SD1_CMD__GPIO1_IO18               0x1f071
				MX6QDL_PAD_SD1_DAT2__GPIO1_IO19              0x1f071
			>;
		};

		pinctrl_j8_port6_gpio5C: j8_port6grp4 {
			fsl,pins = <
				MX6QDL_PAD_SD1_CLK__GPIO1_IO20               0x1b0b1
				MX6QDL_PAD_SD1_DAT0__GPIO1_IO16              0x1b0b1
				MX6QDL_PAD_SD1_DAT3__GPIO1_IO21              0x1b0b1
				MX6QDL_PAD_SD1_DAT1__GPIO1_IO17              0x1f071
				MX6QDL_PAD_SD1_DAT2__GPIO1_IO19              0x1f071
			>;
		};

		pinctrl_j8_port6_gpio4A: j8_port6grp5 {
			fsl,pins = <
				MX6QDL_PAD_SD1_CLK__GPIO1_IO20               0x1b0b1
				MX6QDL_PAD_SD1_DAT0__GPIO1_IO16              0x1b0b1
				MX6QDL_PAD_SD1_DAT3__GPIO1_IO21              0x1b0b1
				MX6QDL_PAD_SD1_CMD__GPIO1_IO18               0x1f071
			>;
		};

		pinctrl_j8_port6_gpio4B: j8_port6grp6 {
			fsl,pins = <
				MX6QDL_PAD_SD1_CLK__GPIO1_IO20               0x1b0b1
				MX6QDL_PAD_SD1_DAT0__GPIO1_IO16              0x1b0b1
				MX6QDL_PAD_SD1_DAT3__GPIO1_IO21              0x1b0b1
				MX6QDL_PAD_SD1_DAT1__GPIO1_IO17              0x1f071
			>;
		};

		pinctrl_j8_port6_gpio4C: j8_port6grp7 {
			fsl,pins = <
				MX6QDL_PAD_SD1_CLK__GPIO1_IO20               0x1b0b1
				MX6QDL_PAD_SD1_DAT0__GPIO1_IO16              0x1b0b1
				MX6QDL_PAD_SD1_DAT3__GPIO1_IO21              0x1b0b1
				MX6QDL_PAD_SD1_DAT2__GPIO1_IO19              0x1f071
			>;
		};

		pinctrl_j8_port6_gpio3: j8_port6grp8 {
			fsl,pins = <
				MX6QDL_PAD_SD1_CLK__GPIO1_IO20               0x1b0b1
				MX6QDL_PAD_SD1_DAT0__GPIO1_IO16              0x1b0b1
				MX6QDL_PAD_SD1_DAT3__GPIO1_IO21              0x1b0b1
			>;
		};

		pinctrl_j8_port6_1: j8_port6grp9 {	/* SDIO1 4BIT */
			fsl,pins = <
				MX6QDL_PAD_SD1_CMD__SD1_CMD                  0x17059
				MX6QDL_PAD_SD1_CLK__SD1_CLK                  0x17059
				MX6QDL_PAD_SD1_DAT0__SD1_DATA0               0x17059
				MX6QDL_PAD_SD1_DAT1__SD1_DATA1               0x17059
				MX6QDL_PAD_SD1_DAT2__SD1_DATA2               0x17059
				MX6QDL_PAD_SD1_DAT3__SD1_DATA3               0x17059
			>;
		};

		pinctrl_j8_port6_2: j8_port6grp10 {	/* PWM4 */
			fsl,pins = <
				MX6QDL_PAD_SD1_CMD__PWM4_OUT                 0x1b0b1
			>;
		};

		pinctrl_j8_port6_3: j8_port6grp11 {	/* PWM3 */
			fsl,pins = <
				MX6QDL_PAD_SD1_DAT1__PWM3_OUT                0x1b0b1
			>;
		};

		pinctrl_j8_port6_4: j8_port6grp12 {	/* PWM2 */
			fsl,pins = <
				MX6QDL_PAD_SD1_DAT2__PWM2_OUT                0x1b0b1
			>;
		};


/*  ____________________________________________________________________________
 * |__________________________________ PORT7 ___________________________________|
*/
		pinctrl_j8_port7_gpio: j8_port7grp1 {
			fsl,pins = <
				MX6QDL_PAD_GPIO_16__GPIO7_IO11               0x1f071
				MX6QDL_PAD_GPIO_3__GPIO1_IO03                0x1f071
			>;
		};

/*  ____________________________________________________________________________
 * |__________________________________ PORT8 ___________________________________|
*/
		pinctrl_j8_port8_gpio: j8_port8grp1 {
			fsl,pins = <
				MX6QDL_PAD_CSI0_DAT11__GPIO5_IO29            0x1f071
				MX6QDL_PAD_CSI0_DAT10__GPIO5_IO28            0x1f071
			>;
		};

		pinctrl_j8_port8_1: j8_port8grp2 {	/* UART1 */
			fsl,pins = <
				MX6QDL_PAD_CSI0_DAT11__UART1_RX_DATA         0x1b0b1
				MX6QDL_PAD_CSI0_DAT10__UART1_TX_DATA         0x1b0b1
			>;
		};


/*  ____________________________________________________________________________
 * |_________________________________ PORT9/10 _________________________________|
*/
		pinctrl_j8_port9_gpio: j8_port9grp1 {
			fsl,pins = <
				MX6QDL_PAD_CSI0_DAT15__GPIO6_IO01            0x1f071
				MX6QDL_PAD_CSI0_DAT14__GPIO6_IO00            0x1f071
				MX6QDL_PAD_KEY_COL4__GPIO4_IO14		     0x1f071
				MX6QDL_PAD_KEY_ROW4__GPIO4_IO15              0x1f071
	
			>;
		};

		pinctrl_j8_port9_1: j8_port9grp2 {	/* UART5 FULL */
			fsl,pins = <
				MX6QDL_PAD_CSI0_DAT15__UART5_RX_DATA         0x1b0b1
				MX6QDL_PAD_CSI0_DAT14__UART5_TX_DATA         0x1b0b1
				MX6QDL_PAD_KEY_COL4__UART5_RTS_B             0x1b0b1
				MX6QDL_PAD_KEY_ROW4__UART5_CTS_B             0x1b0b1
			>;
		};

		pinctrl_j8_port9_2: j8_port9grp3 {	/* UART5 TX/RX */
			fsl,pins = <
				MX6QDL_PAD_CSI0_DAT15__UART5_RX_DATA         0x1b0b1
				MX6QDL_PAD_CSI0_DAT14__UART5_TX_DATA         0x1b0b1
			>;
		};

		pinctrl_j8_port9_3: j8_port9grp4 {	/* CAN2 */
			fsl,pins = <
				MX6QDL_PAD_KEY_COL4__FLEXCAN2_TX             0x80000000
				MX6QDL_PAD_KEY_ROW4__FLEXCAN2_RX             0x80000000
			>;
		};

	};
};
/*  __________________________________________________________________________
 * |__________________________________________________________________________|
 */
